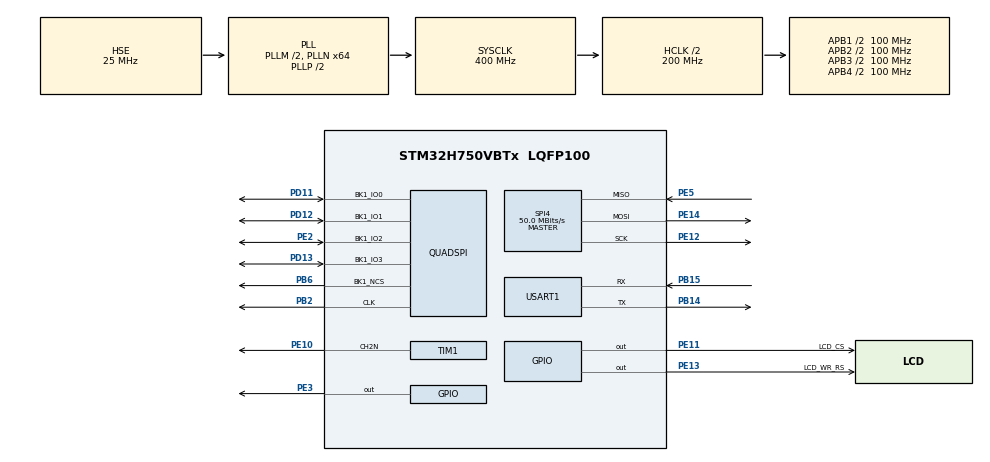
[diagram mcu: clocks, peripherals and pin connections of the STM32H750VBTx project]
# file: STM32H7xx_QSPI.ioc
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CORTEX_M7.AccessPermission_S-Cortex_Memory_Protection_Unit_Region1_Settings_S=MPU_REGION_FULL_ACCESS
CORTEX_M7.AccessPermission_Spec=MPU_REGION_FULL_ACCESS
CORTEX_M7.BaseAddress_S-Cortex_Memory_Protection_Unit_Region1_Settings_S=0x90000000
CORTEX_M7.BaseAddress_Spec=0x90000000
CORTEX_M7.CPU_DCache=Enabled
CORTEX_M7.CPU_ICache=Enabled
CORTEX_M7.DisableExec_Spec=MPU_INSTRUCTION_ACCESS_DISABLE
CORTEX_M7.Enable_S-Cortex_Memory_Protection_Unit_Region1_Settings_S=MPU_REGION_ENABLE
CORTEX_M7.IsBufferable_S-Cortex_Memory_Protection_Unit_Region1_Settings_S=MPU_ACCESS_BUFFERABLE
CORTEX_M7.IsBufferable_Spec=MPU_ACCESS_BUFFERABLE
CORTEX_M7.IsCacheable_S-Cortex_Memory_Protection_Unit_Region1_Settings_S=MPU_ACCESS_CACHEABLE
CORTEX_M7.IsCacheable_Spec=MPU_ACCESS_CACHEABLE
CORTEX_M7.IsShareable_Spec=MPU_ACCESS_NOT_SHAREABLE
CORTEX_M7.Size_S-Cortex_Memory_Protection_Unit_Region1_Settings_S=MPU_REGION_SIZE_1MB
CORTEX_M7.Size_Spec=MPU_REGION_SIZE_8MB
CORTEX_M7.SubRegionDisable_Spec=0
CORTEX_M7.default_mode_Activation=1
Mcu.Family=STM32H7
Mcu.Name=STM32H750VBTx
Mcu.Package=LQFP100
NVIC.PriorityGroup=NVIC_PRIORITYGROUP_4
PA13\ (JTMS/SWDIO).Mode=Serial_Wire
PA13\ (JTMS/SWDIO).Signal=DEBUG_JTMS-SWDIO
PA14\ (JTCK/SWCLK).Mode=Serial_Wire
PA14\ (JTCK/SWCLK).Signal=DEBUG_JTCK-SWCLK
PB14.Mode=Asynchronous
PB14.Signal=USART1_TX
PB15.Mode=Asynchronous
PB15.Signal=USART1_RX
PB2.GPIO_Speed=GPIO_SPEED_FREQ_VERY_HIGH
PB2.Mode=Single Bank 1
PB2.Signal=QUADSPI_CLK
PB6.GPIO_Speed=GPIO_SPEED_FREQ_VERY_HIGH
PB6.Mode=Single Bank 1
PB6.Signal=QUADSPI_BK1_NCS
PD11.GPIO_Speed=GPIO_SPEED_FREQ_VERY_HIGH
PD11.Mode=Single Bank 1
PD11.Signal=QUADSPI_BK1_IO0
PD12.GPIO_Speed=GPIO_SPEED_FREQ_VERY_HIGH
PD12.Mode=Single Bank 1
PD12.Signal=QUADSPI_BK1_IO1
PD13.GPIO_Speed=GPIO_SPEED_FREQ_VERY_HIGH
PD13.Mode=Single Bank 1
PD13.Signal=QUADSPI_BK1_IO3
PE10.Mode=PWM Generation2 CH2N
PE10.Signal=TIM1_CH2N
PE11.GPIO_Label=LCD_CS
PE11.Signal=GPIO_Output
PE12.GPIO_Speed=GPIO_SPEED_FREQ_VERY_HIGH
PE12.Mode=Full_Duplex_Master
PE12.Signal=SPI4_SCK
PE13.GPIO_Label=LCD_WR_RS
PE13.Signal=GPIO_Output
PE14.GPIO_Speed=GPIO_SPEED_FREQ_VERY_HIGH
PE14.Mode=Full_Duplex_Master
PE14.Signal=SPI4_MOSI
PE2.GPIO_Speed=GPIO_SPEED_FREQ_VERY_HIGH
PE2.Mode=Single Bank 1
PE2.Signal=QUADSPI_BK1_IO2
PE3.Signal=GPIO_Output
PE5.GPIO_Speed=GPIO_SPEED_FREQ_VERY_HIGH
PE5.Mode=Full_Duplex_Master
PE5.Signal=SPI4_MISO
PH0-OSC_IN\ (PH0).Mode=HSE-External-Oscillator
PH0-OSC_IN\ (PH0).Signal=RCC_OSC_IN
PH1-OSC_OUT\ (PH1).Mode=HSE-External-Oscillator
PH1-OSC_OUT\ (PH1).Signal=RCC_OSC_OUT
ProjectManager.HeapSize=0x200
ProjectManager.StackSize=0x400
ProjectManager.TargetToolchain=STM32CubeIDE
QUADSPI.ChipSelectHighTime=QSPI_CS_HIGH_TIME_1_CYCLE
QUADSPI.ClockMode=QSPI_CLOCK_MODE_0
QUADSPI.ClockPrescaler=1
QUADSPI.FifoThreshold=4
QUADSPI.FlashSize=22
QUADSPI.SampleShifting=QSPI_SAMPLE_SHIFTING_HALFCYCLE
RCC.ADCFreq_Value=50390625
RCC.APB1Freq_Value=100000000
RCC.APB2Freq_Value=100000000
RCC.APB3Freq_Value=100000000
RCC.APB4Freq_Value=100000000
RCC.CortexFreq_Value=400000000
RCC.D1PPRE=RCC_APB3_DIV2
RCC.D2PPRE1=RCC_APB1_DIV2
RCC.D2PPRE2=RCC_APB2_DIV2
RCC.D3PPRE=RCC_APB4_DIV2
RCC.DIVM1=2
RCC.DIVN1=64
RCC.DIVQ1=4
RCC.HCLKFreq_Value=200000000
RCC.HPRE=RCC_HCLK_DIV2
RCC.PLL2FRACN=0
RCC.PLL3FRACN=0
RCC.PLLFRACN=0
RCC.PLLSourceVirtual=RCC_PLLSOURCE_HSE
RCC.SYSCLKFreq_VALUE=400000000
RCC.SYSCLKSource=RCC_SYSCLKSOURCE_PLLCLK
RCC.USBFreq_Value=200000000
SPI4.CalculateBaudRate=50.0 MBits/s
SPI4.DataSize=SPI_DATASIZE_8BIT
SPI4.Direction=SPI_DIRECTION_2LINES
SPI4.Mode=SPI_MODE_MASTER
SPI4.VirtualType=VM_MASTER
TIM1.Channel-PWM\ Generation2\ CH2N=TIM_CHANNEL_2
USART1.VirtualMode-Asynchronous=VM_ASYNC
VP_MEMORYMAP_VS_MEMORYMAP.Mode=CurAppReg
board=custom

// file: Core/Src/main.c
/* USER CODE BEGIN Header */
/**
  ******************************************************************************
  * @file           : main.c
  * @brief          : Main program body
  ******************************************************************************
  * @attention
  *
  * Copyright (c) 2026 STMicroelectronics.
  * All rights reserved.
  *
  * This software is licensed under terms that can be found in the LICENSE file
  * in the root directory of this software component.
  * If no LICENSE file comes with this software, it is provided AS-IS.
  *
  ******************************************************************************
  */
/* USER CODE END Header */
#include "main.h"

/* USER CODE BEGIN Includes */
#include "lcd_mcal.h"
#include "main_lcd_message.h"
#include "app_shared_ram.h"
#include "qspi_app_load.h"
#include "qspi_app_jump.h"
#include "qspi_flash.h"
#include "uart_mcal.h"
#include <string.h>
/* USER CODE END Includes */

QSPI_HandleTypeDef hqspi;

SPI_HandleTypeDef hspi4;

TIM_HandleTypeDef htim1;

UART_HandleTypeDef huart1;

/* USER CODE BEGIN PV */
static char s_uart_rx_buf[2];
/* USER CODE END PV */

void SystemClock_Config(void);
static void MPU_Config(void);
static void MX_GPIO_Init(void);
static void MX_QUADSPI_Init(void);
static void MX_SPI4_Init(void);
static void MX_TIM1_Init(void);
static void MX_USART1_UART_Init(void);
/* USER CODE BEGIN PFP */
void system_reset(void)
{
  NVIC_SystemReset();
}
/* USER CODE END PFP */

int main(void)
{

  /* MPU Configuration--------------------------------------------------------*/
  MPU_Config();

  /* Enable I/D cache before HAL_Init (H750_BootFromExtFlash order). */
  SCB_EnableICache();
  SCB_EnableDCache();

  /* Reset of all peripherals, Initializes the Flash interface and the Systick. */
  HAL_Init();

  /* Configure the system clock */
  SystemClock_Config();

  /* Initialize all configured peripherals */
  MX_GPIO_Init();
  MX_QUADSPI_Init();
  MX_SPI4_Init();
  MX_TIM1_Init();
  MX_USART1_UART_Init();
  /* USER CODE BEGIN 2 */

  main_bootloader_msg();

  /* P0-3: BKPSRAM flag is undefined after cold power-on unless 0 or 1. */
  app_load_flag_sanitize();
  uart_recv_string(s_uart_rx_buf, 2);
  /* P0-1 / P0-2: Reset external flash, ID check, Quad Enable. */
  if (QSPI_Flash_Init(&hqspi) != QSPI_FLASH_OK)
  {
    lcd_stm32h7_message("QSPI init fail\n");
  }
  /* P0-4: Flag 1 — UART program session only (ends with system reset). */

  else if (s_uart_rx_buf[0] == 'P')
  {
    qspi_new_app_load();
  }
  else if (app_load_is_disabled())
  {
    /* P0-5: Validate app vectors in indirect mode before mmap / jump. */
    if (!qspi_app_is_valid_at_flash(&hqspi, QSPI_APP_JUMP_FLASH_OFFSET))
    {
      lcd_stm32h7_message("No valid app\n");
    }
    else if (QSPI_Flash_EnableMemoryMappedMode(&hqspi) == QSPI_FLASH_OK)
    {
      lcd_stm32h7_message("Jump to QSPI app\n");
      lcd_stm32h7_breathin();

      SCB_DisableDCache();          /* H750_BootFromExtFlash: app re-enables cache */
      SCB_DisableICache();

      (void)qspi_app_jump_to_application(QSPI_APP_JUMP_XIP_BASE);
      /* Jump failed or returned: leave mmap off before idle loop. */
      (void)QSPI_Flash_DisableMemoryMappedMode(&hqspi);
    }
    else
    {
      /* P0-7: Valid vectors but memory-mapped mode could not start. */
      lcd_stm32h7_message("Mmap fail\n");
    }
  }
  /* USER CODE END 2 */

  /* Infinite loop */
  /* USER CODE BEGIN WHILE */

  lcd_stm32h7_breathout();
  lcd_stm32h7_color(BLK, GRE);
  lcd_stm32h7_breathin();
  while (1)
  {
    lcd_stm32h7_message("QSPI Bootloader\n");
    uart_recv_string(s_uart_rx_buf, 2);
    if (s_uart_rx_buf[0] == 'P' )
    {
      app_load_enable();
      qspi_new_app_load();
    }

    HAL_GPIO_WritePin(GPIOE, GPIO_PIN_3, GPIO_PIN_SET);
    HAL_Delay(40);
    HAL_GPIO_WritePin(GPIOE, GPIO_PIN_3, GPIO_PIN_RESET);
    HAL_Delay(40);
    lcd_stm32h7_clear();
    /* USER CODE END WHILE */

  }
}

void SystemClock_Config(void)
{
  RCC_OscInitTypeDef RCC_OscInitStruct = {0};
  RCC_ClkInitTypeDef RCC_ClkInitStruct = {0};

  /** Supply configuration update enable
  */
  HAL_PWREx_ConfigSupply(PWR_LDO_SUPPLY);

  /** Configure the main internal regulator output voltage
  */
  __HAL_PWR_VOLTAGESCALING_CONFIG(PWR_REGULATOR_VOLTAGE_SCALE1);

  while(!__HAL_PWR_GET_FLAG(PWR_FLAG_VOSRDY)) {}

  /** Initializes the RCC Oscillators according to the specified parameters
  * in the RCC_OscInitTypeDef structure.
  */
  RCC_OscInitStruct.OscillatorType = RCC_OSCILLATORTYPE_HSE;
  RCC_OscInitStruct.HSEState = RCC_HSE_ON;
  RCC_OscInitStruct.PLL.PLLState = RCC_PLL_ON;
  RCC_OscInitStruct.PLL.PLLSource = RCC_PLLSOURCE_HSE;
  RCC_OscInitStruct.PLL.PLLM = 2;
  RCC_OscInitStruct.PLL.PLLN = 64;
  RCC_OscInitStruct.PLL.PLLP = 2;
  RCC_OscInitStruct.PLL.PLLQ = 2;
  RCC_OscInitStruct.PLL.PLLR = 2;
  RCC_OscInitStruct.PLL.PLLRGE = RCC_PLL1VCIRANGE_3;
  RCC_OscInitStruct.PLL.PLLVCOSEL = RCC_PLL1VCOWIDE;
  RCC_OscInitStruct.PLL.PLLFRACN = 0;
  if (HAL_RCC_OscConfig(&RCC_OscInitStruct) != HAL_OK)
  {
    Error_Handler();
  }

  /** Initializes the CPU, AHB and APB buses clocks
  */
  RCC_ClkInitStruct.ClockType = RCC_CLOCKTYPE_HCLK|RCC_CLOCKTYPE_SYSCLK
                              |RCC_CLOCKTYPE_PCLK1|RCC_CLOCKTYPE_PCLK2
                              |RCC_CLOCKTYPE_D3PCLK1|RCC_CLOCKTYPE_D1PCLK1;
  RCC_ClkInitStruct.SYSCLKSource = RCC_SYSCLKSOURCE_PLLCLK;
  RCC_ClkInitStruct.SYSCLKDivider = RCC_SYSCLK_DIV1;
  RCC_ClkInitStruct.AHBCLKDivider = RCC_HCLK_DIV2;
  RCC_ClkInitStruct.APB3CLKDivider = RCC_APB3_DIV2;
  RCC_ClkInitStruct.APB1CLKDivider = RCC_APB1_DIV2;
  RCC_ClkInitStruct.APB2CLKDivider = RCC_APB2_DIV2;
  RCC_ClkInitStruct.APB4CLKDivider = RCC_APB4_DIV2;

  if (HAL_RCC_ClockConfig(&RCC_ClkInitStruct, FLASH_LATENCY_2) != HAL_OK)
  {
    Error_Handler();
  }
}

static void MX_QUADSPI_Init(void)
{

  /* QUADSPI parameter configuration*/
  hqspi.Instance = QUADSPI;
  hqspi.Init.ClockPrescaler = 1;
  hqspi.Init.FifoThreshold = 4;
  hqspi.Init.SampleShifting = QSPI_SAMPLE_SHIFTING_HALFCYCLE;
  hqspi.Init.FlashSize = 22;
  hqspi.Init.ChipSelectHighTime = QSPI_CS_HIGH_TIME_1_CYCLE;
  hqspi.Init.ClockMode = QSPI_CLOCK_MODE_0;
  hqspi.Init.FlashID = QSPI_FLASH_ID_1;
  hqspi.Init.DualFlash = QSPI_DUALFLASH_DISABLE;
  if (HAL_QSPI_Init(&hqspi) != HAL_OK)
  {
    Error_Handler();
  }

}

static void MX_SPI4_Init(void)
{

  /* SPI4 parameter configuration*/
  hspi4.Instance = SPI4;
  hspi4.Init.Mode = SPI_MODE_MASTER;
  hspi4.Init.Direction = SPI_DIRECTION_2LINES;
  hspi4.Init.DataSize = SPI_DATASIZE_8BIT;
  hspi4.Init.CLKPolarity = SPI_POLARITY_LOW;
  hspi4.Init.CLKPhase = SPI_PHASE_1EDGE;
  hspi4.Init.NSS = SPI_NSS_SOFT;
  hspi4.Init.BaudRatePrescaler = SPI_BAUDRATEPRESCALER_2;
  hspi4.Init.FirstBit = SPI_FIRSTBIT_MSB;
  hspi4.Init.TIMode = SPI_TIMODE_DISABLE;
  hspi4.Init.CRCCalculation = SPI_CRCCALCULATION_DISABLE;
  hspi4.Init.CRCPolynomial = 0x0;
  hspi4.Init.NSSPMode = SPI_NSS_PULSE_ENABLE;
  hspi4.Init.NSSPolarity = SPI_NSS_POLARITY_LOW;
  hspi4.Init.FifoThreshold = SPI_FIFO_THRESHOLD_01DATA;
  hspi4.Init.TxCRCInitializationPattern = SPI_CRC_INITIALIZATION_ALL_ZERO_PATTERN;
  hspi4.Init.RxCRCInitializationPattern = SPI_CRC_INITIALIZATION_ALL_ZERO_PATTERN;
  hspi4.Init.MasterSSIdleness = SPI_MASTER_SS_IDLENESS_00CYCLE;
  hspi4.Init.MasterInterDataIdleness = SPI_MASTER_INTERDATA_IDLENESS_00CYCLE;
  hspi4.Init.MasterReceiverAutoSusp = SPI_MASTER_RX_AUTOSUSP_DISABLE;
  hspi4.Init.MasterKeepIOState = SPI_MASTER_KEEP_IO_STATE_DISABLE;
  hspi4.Init.IOSwap = SPI_IO_SWAP_DISABLE;
  if (HAL_SPI_Init(&hspi4) != HAL_OK)
  {
    Error_Handler();
  }

}

static void MX_TIM1_Init(void)
{

  TIM_MasterConfigTypeDef sMasterConfig = {0};
  TIM_OC_InitTypeDef sConfigOC = {0};
  TIM_BreakDeadTimeConfigTypeDef sBreakDeadTimeConfig = {0};

  htim1.Instance = TIM1;
  htim1.Init.Prescaler = 0;
  htim1.Init.CounterMode = TIM_COUNTERMODE_UP;
  htim1.Init.Period = 65535;
  htim1.Init.ClockDivision = TIM_CLOCKDIVISION_DIV1;
  htim1.Init.RepetitionCounter = 0;
  htim1.Init.AutoReloadPreload = TIM_AUTORELOAD_PRELOAD_DISABLE;
  if (HAL_TIM_PWM_Init(&htim1) != HAL_OK)
  {
    Error_Handler();
  }
  sMasterConfig.MasterOutputTrigger = TIM_TRGO_RESET;
  sMasterConfig.MasterOutputTrigger2 = TIM_TRGO2_RESET;
  sMasterConfig.MasterSlaveMode = TIM_MASTERSLAVEMODE_DISABLE;
  if (HAL_TIMEx_MasterConfigSynchronization(&htim1, &sMasterConfig) != HAL_OK)
  {
    Error_Handler();
  }
  sConfigOC.OCMode = TIM_OCMODE_PWM1;
  sConfigOC.Pulse = 0;
  sConfigOC.OCPolarity = TIM_OCPOLARITY_HIGH;
  sConfigOC.OCNPolarity = TIM_OCNPOLARITY_HIGH;
  sConfigOC.OCFastMode = TIM_OCFAST_DISABLE;
  sConfigOC.OCIdleState = TIM_OCIDLESTATE_RESET;
  sConfigOC.OCNIdleState = TIM_OCNIDLESTATE_RESET;
  if (HAL_TIM_PWM_ConfigChannel(&htim1, &sConfigOC, TIM_CHANNEL_2) != HAL_OK)
  {
    Error_Handler();
  }
  sBreakDeadTimeConfig.OffStateRunMode = TIM_OSSR_DISABLE;
  sBreakDeadTimeConfig.OffStateIDLEMode = TIM_OSSI_DISABLE;
  sBreakDeadTimeConfig.LockLevel = TIM_LOCKLEVEL_OFF;
  sBreakDeadTimeConfig.DeadTime = 0;
  sBreakDeadTimeConfig.BreakState = TIM_BREAK_DISABLE;
  sBreakDeadTimeConfig.BreakPolarity = TIM_BREAKPOLARITY_HIGH;
  sBreakDeadTimeConfig.BreakFilter = 0;
  sBreakDeadTimeConfig.Break2State = TIM_BREAK2_DISABLE;
  sBreakDeadTimeConfig.Break2Polarity = TIM_BREAK2POLARITY_HIGH;
  sBreakDeadTimeConfig.Break2Filter = 0;
  sBreakDeadTimeConfig.AutomaticOutput = TIM_AUTOMATICOUTPUT_DISABLE;
  if (HAL_TIMEx_ConfigBreakDeadTime(&htim1, &sBreakDeadTimeConfig) != HAL_OK)
  {
    Error_Handler();
  }
  HAL_TIM_MspPostInit(&htim1);

}

static void MX_USART1_UART_Init(void)
{

  huart1.Instance = USART1;
  huart1.Init.BaudRate = 115200;
  huart1.Init.WordLength = UART_WORDLENGTH_8B;
  huart1.Init.StopBits = UART_STOPBITS_1;
  huart1.Init.Parity = UART_PARITY_NONE;
  huart1.Init.Mode = UART_MODE_TX_RX;
  huart1.Init.HwFlowCtl = UART_HWCONTROL_NONE;
  huart1.Init.OverSampling = UART_OVERSAMPLING_16;
  huart1.Init.OneBitSampling = UART_ONE_BIT_SAMPLE_DISABLE;
  huart1.Init.ClockPrescaler = UART_PRESCALER_DIV1;
  huart1.AdvancedInit.AdvFeatureInit = UART_ADVFEATURE_NO_INIT;
  if (HAL_UART_Init(&huart1) != HAL_OK)
  {
    Error_Handler();
  }
  if (HAL_UARTEx_SetTxFifoThreshold(&huart1, UART_TXFIFO_THRESHOLD_1_8) != HAL_OK)
  {
    Error_Handler();
  }
  if (HAL_UARTEx_SetRxFifoThreshold(&huart1, UART_RXFIFO_THRESHOLD_1_8) != HAL_OK)
  {
    Error_Handler();
  }
  if (HAL_UARTEx_DisableFifoMode(&huart1) != HAL_OK)
  {
    Error_Handler();
  }

}

static void MX_GPIO_Init(void)
{
  GPIO_InitTypeDef GPIO_InitStruct = {0};

  /* GPIO Ports Clock Enable */
  __HAL_RCC_GPIOE_CLK_ENABLE();
  __HAL_RCC_GPIOH_CLK_ENABLE();
  __HAL_RCC_GPIOB_CLK_ENABLE();
  __HAL_RCC_GPIOD_CLK_ENABLE();
  __HAL_RCC_GPIOA_CLK_ENABLE();

  /*Configure GPIO pin Output Level */
  HAL_GPIO_WritePin(GPIOE, GPIO_PIN_3|LCD_CS_Pin|LCD_WR_RS_Pin, GPIO_PIN_RESET);

  /*Configure GPIO pins : PE3 LCD_CS_Pin LCD_WR_RS_Pin */
  GPIO_InitStruct.Pin = GPIO_PIN_3|LCD_CS_Pin|LCD_WR_RS_Pin;
  GPIO_InitStruct.Mode = GPIO_MODE_OUTPUT_PP;
  GPIO_InitStruct.Pull = GPIO_NOPULL;
  GPIO_InitStruct.Speed = GPIO_SPEED_FREQ_LOW;
  HAL_GPIO_Init(GPIOE, &GPIO_InitStruct);

}

 /* MPU Configuration */

void MPU_Config(void)
{
  MPU_Region_InitTypeDef MPU_InitStruct = {0};

  /* Disables the MPU */
  HAL_MPU_Disable();

  /** Initializes and configures the Region and the memory to be protected
  */
  MPU_InitStruct.Enable = MPU_REGION_ENABLE;
  MPU_InitStruct.Number = MPU_REGION_NUMBER0;
  MPU_InitStruct.BaseAddress = 0x90000000;
  MPU_InitStruct.Size = MPU_REGION_SIZE_8MB;
  MPU_InitStruct.SubRegionDisable = 0;
  MPU_InitStruct.TypeExtField = MPU_TEX_LEVEL0;
  MPU_InitStruct.AccessPermission = MPU_REGION_FULL_ACCESS;
  MPU_InitStruct.DisableExec = MPU_INSTRUCTION_ACCESS_DISABLE;
  MPU_InitStruct.IsShareable = MPU_ACCESS_NOT_SHAREABLE;
  MPU_InitStruct.IsCacheable = MPU_ACCESS_CACHEABLE;
  MPU_InitStruct.IsBufferable = MPU_ACCESS_BUFFERABLE;

  HAL_MPU_ConfigRegion(&MPU_InitStruct);

  /** Initializes and configures the Region and the memory to be protected
  */
  MPU_InitStruct.Number = MPU_REGION_NUMBER1;
  MPU_InitStruct.Size = MPU_REGION_SIZE_1MB;
  MPU_InitStruct.SubRegionDisable = 0x0;
  MPU_InitStruct.DisableExec = MPU_INSTRUCTION_ACCESS_ENABLE;

  HAL_MPU_ConfigRegion(&MPU_InitStruct);
  /* Enables the MPU */
  HAL_MPU_Enable(MPU_PRIVILEGED_DEFAULT);

}

void Error_Handler(void)
{
  __disable_irq();
  while (1)
  {
  }
}
